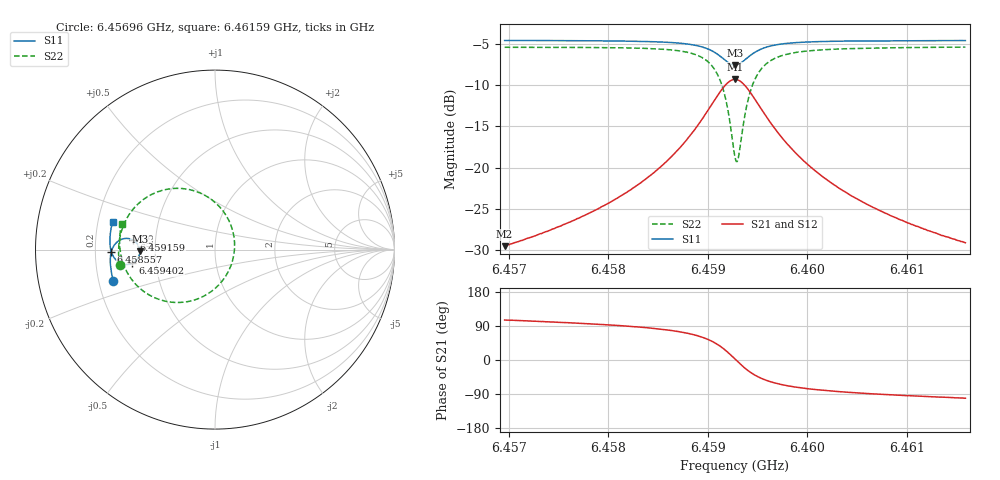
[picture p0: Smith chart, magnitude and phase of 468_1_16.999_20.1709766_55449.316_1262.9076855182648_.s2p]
#  HZ  S  RI  R  50.00
! Rohde & Schwarz Vector Network Analyzer
! Rohde-Schwarz,ZNB20-2Port,1311601062101988,3.16
! Created: UTC 3/20/2024, 11:13:03 PM
! freq[Hz]  re:S11  im:S11  re:S21  im:S21  re:S12  im:S12  re:S22  im:S22
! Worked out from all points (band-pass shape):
!   401 points, 6.45696 GHz to 6.46159 GHz, reference 50 ohm
!   highest |S21| = -9.29 dB at 6.459275 GHz (marker M1); lowest = -29.5 dB at 6.45696 GHz (marker M2)
!   |S21| within 3 dB of the highest: 6.459044 GHz to 6.459507 GHz (463.3 kHz wide, 0.00717 % of centre)
!   lowest |S11| = -7.6 dB at 6.459275 GHz (marker M3), VSWR 2.44, Z = 20.5 - j0.504 ohm
!   |S11| at or under -10 dB: nowhere
!   |S22| runs from -19.3 to -5.4 dB; largest |S21 - S12| = 0.014
!   S11 on the Smith chart (normalised r, x): 6.45696 GHz: 0.26, -0.14; 6.458557 GHz: 0.27, -0.01; 6.459159 GHz: 0.37, +0.05; 6.459402 GHz: 0.37, -0.07; 6.46159 GHz: 0.26, +0.12
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6.4569598e9  -0.5664 -0.1735  -0.00887 0.0321  -0.0072 0.0322  -0.5313 -0.0865
6.4577354e9  -0.5806 -0.1058  -0.0057 0.05  -0.00312 0.0494  -0.5371 0.00386
6.4581985e9  -0.5836 -0.0593  0.00103 0.0716  0.00425 0.0701  -0.5279 0.0777
6.458511e9  -0.5799 -0.0216  0.0139 0.0981  0.0178 0.0954  -0.5043 0.1489
6.4585573e9  -0.5784 -0.0154  0.0173 0.1034  0.0212 0.1005  -0.498 0.1619
6.4587657e9  -0.5664 0.0163  0.0433 0.135  0.0474 0.1302  -0.4493 0.2333
6.4589162e9  -0.5451 0.0426  0.0857 0.1652  0.089 0.1586  -0.3711 0.2974
6.4590667e9  -0.4994 0.0623  0.1769 0.184  0.1779 0.1767  -0.2041 0.3414
6.4591593e9  -0.455 0.0522  0.2665 0.1533  0.2666 0.1474  -0.0384 0.292
6.4592056e9  -0.434 0.0336  0.3097 0.1109  0.3111 0.1055  0.0441 0.2162
6.4592751e9  -0.419 -0.0101  0.3429 0.0146  0.3467 0.00766  0.109 0.0375
6.4592867e9  -0.4196 -0.0182  0.343 -0.00321  0.3467 -0.0107  0.1088 0.00413
6.4593098e9  -0.423 -0.0338  0.3375 -0.0377  0.3412 -0.0466  0.0979 -0.0613
6.4593561e9  -0.4386 -0.0596  0.3092 -0.0972  0.3112 -0.109  0.0408 -0.174
6.4594024e9  -0.4604 -0.0758  0.2674 -0.1381  0.2665 -0.1512  -0.0437 -0.2486
6.459495e9  -0.5035 -0.0825  0.183 -0.1692  0.1769 -0.1806  -0.2116 -0.2947
6.4596455e9  -0.5471 -0.062  0.0958 -0.1554  0.0873 -0.1617  -0.3782 -0.2457
6.4598076e9  -0.5685 -0.0344  0.051 -0.1279  0.0436 -0.1306  -0.4583 -0.1741
6.4600507e9  -0.5812 0.00129  0.0222 -0.0966  0.0164 -0.0971  -0.5061 -0.0919
6.4604212e9  -0.5856 0.0448  0.00564 -0.0686  0.00162 -0.0681  -0.528 -0.00872
6.4608263e9  -0.5835 0.0853  -0.00143 -0.0515  -0.00418 -0.0507  -0.5316 0.0551
6.4615904e9  -0.571 0.1528  -0.0066 -0.0343  -0.00829 -0.0334  -0.5201 0.1449
